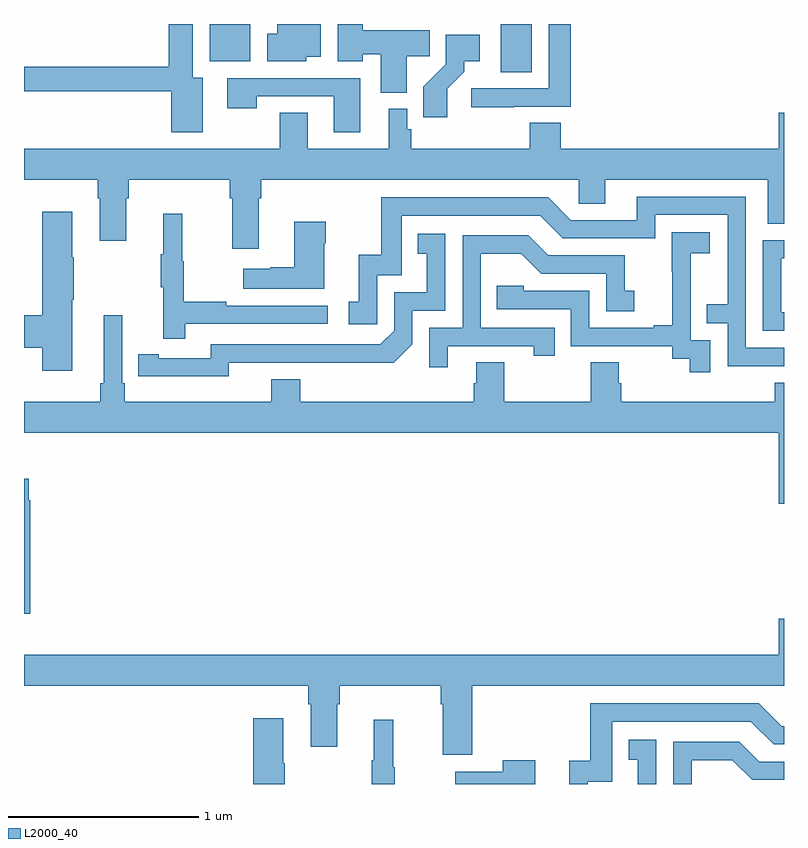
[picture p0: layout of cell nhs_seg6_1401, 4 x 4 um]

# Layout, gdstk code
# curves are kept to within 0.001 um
import gdstk
lib = gdstk.Library(unit=1e-6, precision=1e-09)
def R(c, l, rs):  # rectangles x0, y0, x1, y1
    for r in rs: c.add(gdstk.rectangle(r[:2], r[2:], *l))
def P(c, l, *ps):  # polygons
    for p in ps: c.add(gdstk.Polygon(p, *l))
L2000_40 = (2000, 40)

nhs_seg6_1401 = lib.new_cell('nhs_seg6_1401')
R(nhs_seg6_1401, L2000_40, [(199.508,937.246,199.672,937.5), (197.978,937.304,198.19,937.5)])
P(nhs_seg6_1401, L2000_40, [(199.577,937.065),(199.877,937.065),(199.877,937.5),(199.761,937.5),(199.761,937.161),(199.353,937.161),(199.353,937.063),(199.577,937.063)],
  [(197.941,937.216),(197.887,937.216),(197.887,937.5),(197.762,937.5),(197.762,937.274),(197,937.274),(197,937.146),(197.774,937.146),(197.774,936.93),(197.941,936.93)],
  [(199.015,937.33),(199.136,937.33),(199.136,937.468),(198.784,937.468),(198.784,937.5),(198.65,937.5),(198.65,937.304),(198.784,937.304),(198.784,937.341),(198.878,937.341),(198.878,937.139),(199.015,937.139)],
  [(198.486,937.328),(198.562,937.328),(198.562,937.5),(198.332,937.5),(198.332,937.45),(198.281,937.45),(198.281,937.304),(198.486,937.304)],
  [(199.228,937.159),(199.318,937.249),(199.318,937.304),(199.399,937.304),(199.399,937.444),(199.221,937.444),(199.221,937.289),(199.102,937.17),(199.102,937.008),(199.228,937.008)],
  [(198.769,937.215),(198.069,937.215),(198.069,937.056),(198.225,937.056),(198.225,937.119),(198.629,937.119),(198.629,936.93),(198.769,936.93)],
  [(197,936.68),(197.387,936.68),(197.387,936.584),(197.399,936.584),(197.399,936.36),(197.539,936.36),(197.539,936.584),(197.552,936.584),(197.552,936.68),(198.083,936.68),(198.083,936.584),(198.095,936.584),(198.095,936.318),(198.235,936.318),(198.235,936.584),(198.248,936.584),(198.248,936.68),(199.92,936.68),(199.92,936.553),(200.059,936.553),(200.059,936.68),(200.915,936.68),(200.915,936.448),(201,936.448),(201,937.033),(200.972,937.033),(200.972,936.844),(199.826,936.844),(199.826,936.98),(199.661,936.98),(199.661,936.844),(199.037,936.844),(199.037,936.945),(199.017,936.945),(199.017,937.054),(198.92,937.054),(198.92,936.844),(198.493,936.844),(198.493,937.034),(198.346,937.034),(198.346,936.844),(197,936.844)],
  [(201,935.796),(200.799,935.796),(200.799,936.591),(200.225,936.591),(200.225,936.468),(199.878,936.468),(199.758,936.588),(198.879,936.588),(198.879,936.286),(198.761,936.286),(198.761,936.039),(198.708,936.039),(198.708,935.919),(198.858,935.919),(198.858,936.177),(198.987,936.177),(198.987,936.492),(199.716,936.492),(199.836,936.372),(200.322,936.372),(200.322,936.495),(200.703,936.495),(200.703,936.026),(200.593,936.026),(200.593,935.925),(200.703,935.925),(200.703,935.7),(201,935.7)],
  [(197.254,936.049),(197.262,936.049),(197.262,936.272),(197.254,936.272),(197.254,936.511),(197.096,936.511),(197.096,935.966),(197,935.966),(197,935.795),(197.096,935.795),(197.096,935.676),(197.254,935.676)],
  [(197.849,935.922),(198.598,935.922),(198.598,936.018),(198.065,936.018),(198.065,936.038),(197.842,936.038),(197.842,936.252),(197.834,936.252),(197.834,936.502),(197.732,936.502),(197.732,936.289),(197.721,936.289),(197.721,936.115),(197.732,936.115),(197.732,935.844),(197.849,935.844)],
  [(198.58,936.347),(198.588,936.347),(198.588,936.46),(198.422,936.46),(198.422,936.221),(198.296,936.221),(198.296,936.211),(198.153,936.211),(198.153,936.107),(198.58,936.107)],
  [(200.613,935.835),(200.508,935.835),(200.508,936.065),(200.51,936.065),(200.51,936.293),(200.608,936.293),(200.608,936.403),(200.41,936.403),(200.41,936.197),(200.411,936.197),(200.411,935.914),(200.315,935.914),(200.315,935.901),(199.974,935.901),(199.974,936.096),(199.629,936.096),(199.629,936.123),(199.489,936.123),(199.489,936),(199.878,936),(199.878,935.805),(200.412,935.805),(200.412,935.737),(200.505,935.737),(200.505,935.667),(200.613,935.667)],
  [(198.078,935.718),(198.946,935.717),(199.044,935.814),(199.044,935.991),(199.218,935.991),(199.218,936.397),(199.072,936.397),(199.072,936.291),(199.121,936.291),(199.121,936.087),(198.948,936.087),(198.948,935.886),(198.876,935.814),(197.982,935.814),(197.982,935.742),(197.71,935.742),(197.71,935.762),(197.602,935.762),(197.602,935.646),(198.078,935.645)],
  [(199.231,935.805),(199.682,935.805),(199.682,935.754),(199.793,935.754),(199.793,935.901),(199.404,935.901),(199.404,936.29),(199.618,936.29),(199.722,936.186),(200.064,936.186),(200.064,935.988),(200.212,935.988),(200.212,936.097),(200.163,936.097),(200.163,936.282),(199.759,936.282),(199.654,936.387),(199.308,936.387),(199.308,935.901),(199.134,935.901),(199.134,935.694),(199.231,935.694)],
  [(201,935.982),(200.985,935.982),(200.985,936.267),(201,936.267),(201,936.363),(200.889,936.363),(200.889,935.886),(201,935.886)],
  [(201,935.611),(200.951,935.611),(200.951,935.512),(200.144,935.512),(200.144,935.61),(200.131,935.61),(200.131,935.72),(199.984,935.72),(199.984,935.512),(199.527,935.512),(199.527,935.72),(199.379,935.72),(199.379,935.61),(199.367,935.61),(199.367,935.512),(198.455,935.512),(198.455,935.629),(198.302,935.629),(198.302,935.512),(197.531,935.512),(197.531,935.608),(197.517,935.608),(197.517,935.968),(197.42,935.968),(197.42,935.608),(197.401,935.608),(197.401,935.512),(197,935.512),(197,935.348),(200.972,935.348),(200.972,934.974),(201,934.974)],
  [(197.033,934.994),(197.026,934.994),(197.026,935.107),(197,935.107),(197,934.397),(197.033,934.397)],
  [(199.358,934.016),(201,934.016),(201,934.369),(200.972,934.369),(200.972,934.18),(197,934.18),(197,934.016),(198.497,934.016),(198.497,933.92),(198.509,933.92),(198.509,933.696),(198.649,933.696),(198.649,933.92),(198.662,933.92),(198.662,934.016),(199.193,934.016),(199.193,933.92),(199.205,933.92),(199.205,933.654),(199.358,933.654)],
  [(199.968,933.513),(200.097,933.513),(200.097,933.828),(200.826,933.828),(200.946,933.708),(201,933.708),(201,933.804),(200.988,933.804),(200.868,933.924),(199.981,933.924),(199.981,933.622),(199.871,933.622),(199.871,933.5),(199.968,933.5)],
  [(198.372,933.608),(198.364,933.608),(198.364,933.847),(198.206,933.847),(198.206,933.5),(198.372,933.5)],
  [(198.952,933.588),(198.944,933.588),(198.944,933.838),(198.842,933.838),(198.842,933.625),(198.831,933.625),(198.831,933.5),(198.952,933.5)],
  [(200.328,933.733),(200.182,933.733),(200.182,933.627),(200.231,933.627),(200.231,933.5),(200.328,933.5)],
  [(200.514,933.626),(200.728,933.626),(200.832,933.522),(201,933.522),(201,933.618),(200.869,933.618),(200.764,933.723),(200.418,933.723),(200.418,933.5),(200.514,933.5)],
  [(199.69,933.625),(199.52,933.625),(199.52,933.565),(199.271,933.565),(199.271,933.5),(199.69,933.5)])

lib.write_gds('nhs_seg6_1401.gds')
